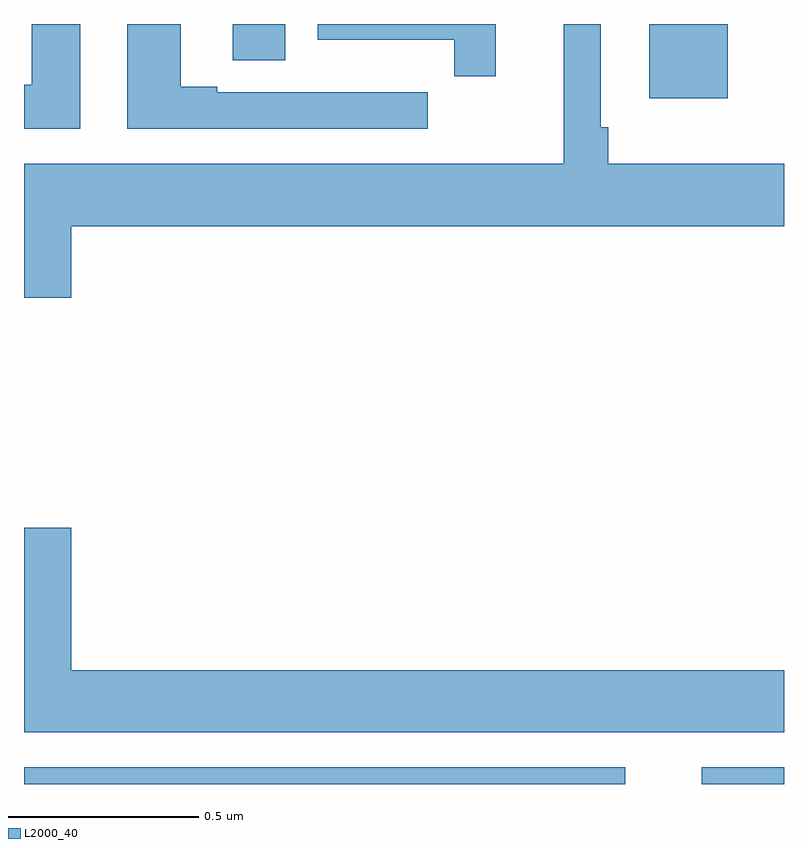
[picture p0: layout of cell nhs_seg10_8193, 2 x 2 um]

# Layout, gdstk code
import gdstk
lib = gdstk.Library(unit=1e-6, precision=1e-09)
def R(c, l, rs):  # rectangles x0, y0, x1, y1
    for r in rs: c.add(gdstk.rectangle(r[:2], r[2:], *l))
def P(c, l, *ps):  # polygons
    for p in ps: c.add(gdstk.Polygon(p, *l))
L2000_40 = (2000, 40)

nhs_seg10_8193 = lib.new_cell('nhs_seg10_8193')
R(nhs_seg10_8193, L2000_40, [(213,1313.5,214.582,1313.544), (214.784,1313.5,215,1313.544), (214.646,1315.304,214.852,1315.5), (213.549,1315.405,213.688,1315.5)])
P(nhs_seg10_8193, L2000_40, [(213.124,1314.968),(215,1314.968),(215,1315.132),(214.538,1315.132),(214.538,1315.228),(214.518,1315.228),(214.518,1315.5),(214.421,1315.5),(214.421,1315.132),(213,1315.132),(213,1314.78),(213.124,1314.78)],
  [(213.148,1315.5),(213.02,1315.5),(213.02,1315.34),(213,1315.34),(213,1315.224),(213.148,1315.224)],
  [(214.241,1315.5),(213.773,1315.5),(213.773,1315.458),(214.132,1315.458),(214.132,1315.362),(214.241,1315.362)],
  [(214.063,1315.32),(213.95,1315.32),(213.95,1315.321),(213.784,1315.321),(213.784,1315.32),(213.508,1315.32),(213.508,1315.335),(213.412,1315.335),(213.412,1315.5),(213.272,1315.5),(213.272,1315.224),(214.063,1315.224)],
  [(215,1313.8),(213.124,1313.8),(213.124,1314.175),(213,1314.175),(213,1313.636),(215,1313.636)])

lib.write_gds('nhs_seg10_8193.gds')
